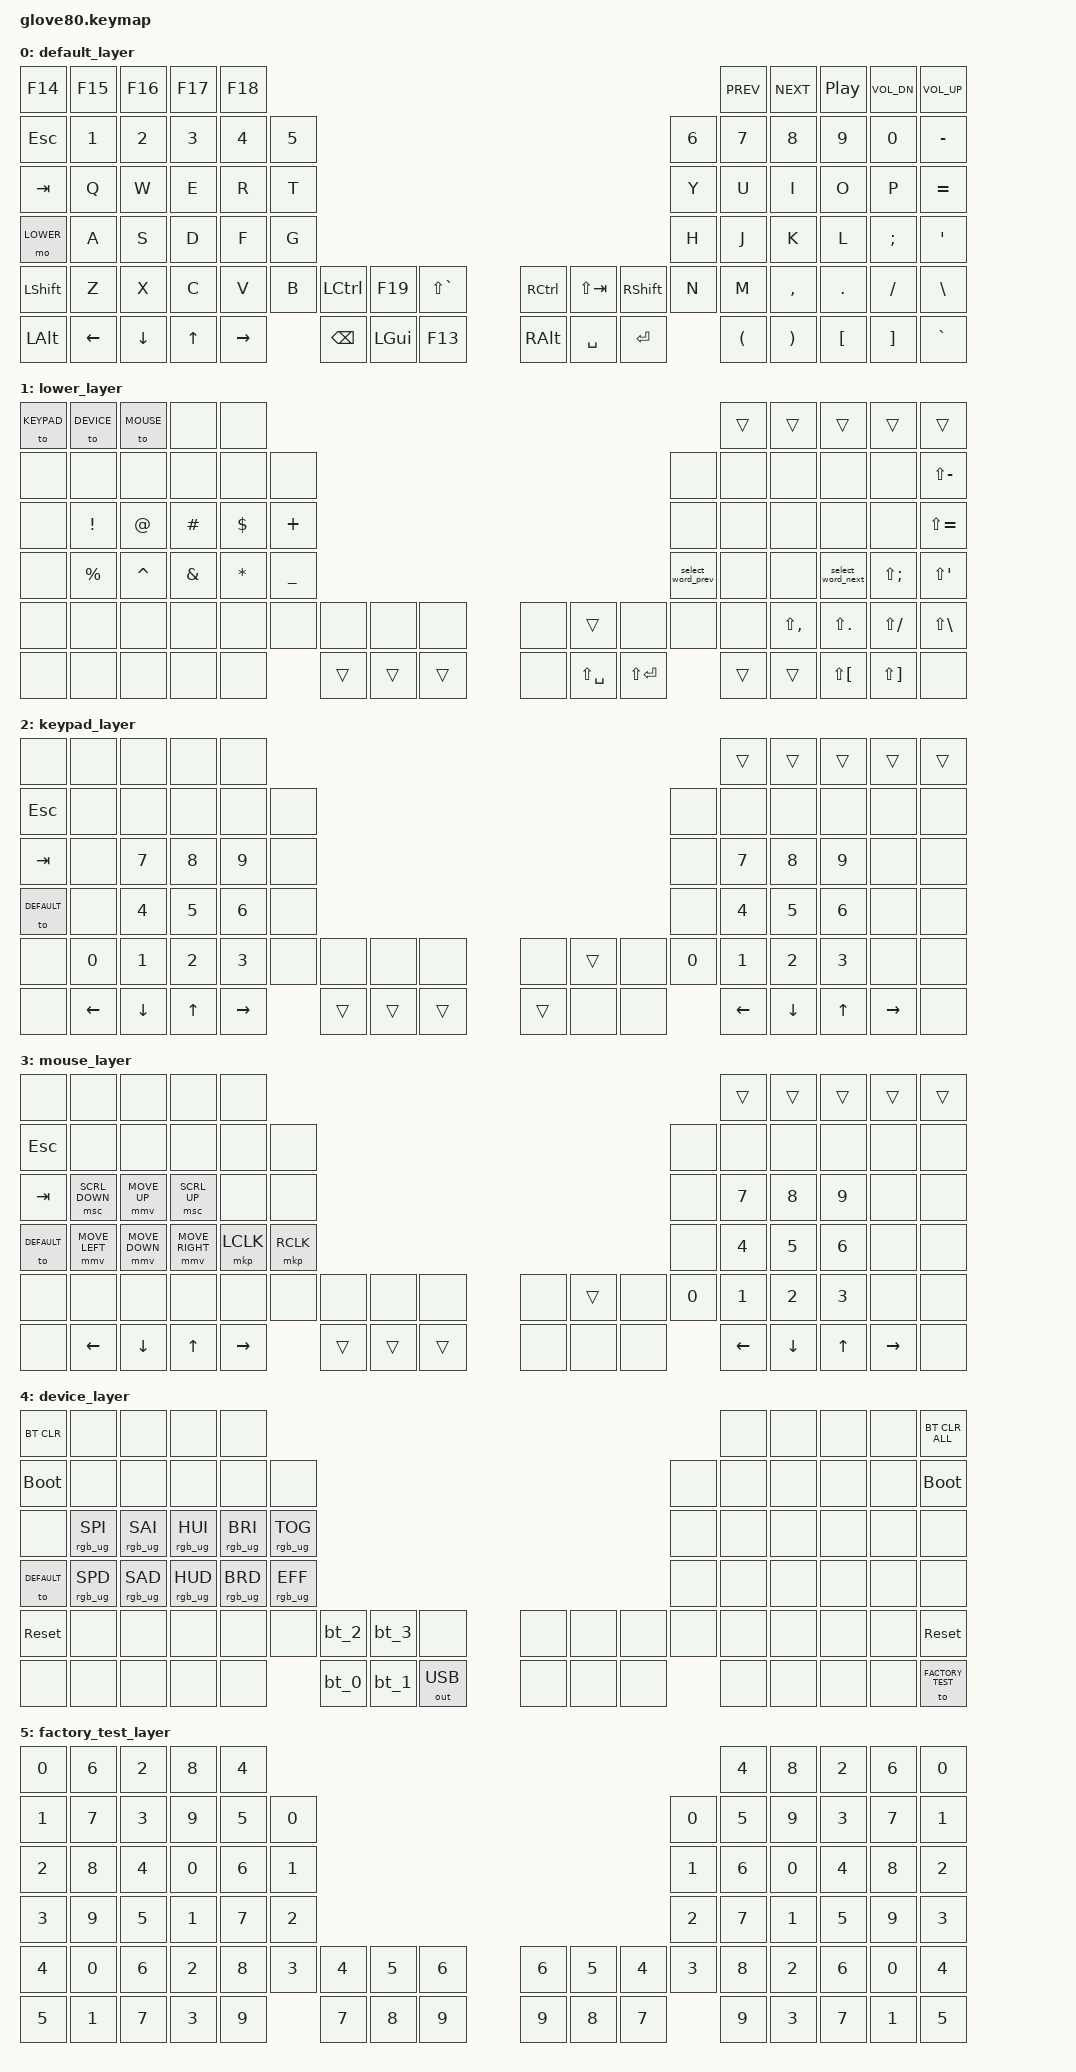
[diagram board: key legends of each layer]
/*
 * Copyright (c) 2020 The ZMK Contributors
 *
 * SPDX-License-Identifier: MIT
 */

#include <behaviors.dtsi>
#include <dt-bindings/zmk/keys.h>
#include <dt-bindings/zmk/bt.h>
#include <dt-bindings/zmk/ext_power.h>
#include <dt-bindings/zmk/outputs.h>
#include <dt-bindings/zmk/rgb.h>
#include <dt-bindings/zmk/mouse.h>

// layers
#define DEFAULT 0
#define LOWER 1
#define KEYPAD 2
#define MOUSE 3
#define DEVICE 4
#define FACTORY_TEST 5

#define _WM LALT
#define SEL_WORD_DELAY 1

/ {
  behaviors {
  };

  macros {
    // ------------------------------------------------------------------------
    // SELECT WORD MACROS
    // ------------------------------------------------------------------------
    // move_word_start: move_word_start {
    //   compatible = "zmk,behavior-macro";
    //   #binding-cells = <0>;
    //   bindings = <&kp LEFT &kp _WM(RIGHT) &kp _WM(RIGHT) &kp _WM(LEFT)>;
    // };
    // move_word_end: move_word_end {
    //   compatible = "zmk,behavior-macro";
    //   #binding-cells = <0>;
    //   bindings = <&kp _WM(RIGHT)>;
    // };
    // move_word_start_prev: move_word_start_prev {
    //   compatible = "zmk,behavior-macro";
    //   #binding-cells = <0>;
    //   bindings = <&kp RIGHT &kp _WM(LEFT) &kp _WM(LEFT)>;
    // };
    // move_word_end_prev: move_word_end_prev {
    //   compatible = "zmk,behavior-macro";
    //   #binding-cells = <0>;
    //   bindings = <&move_word_start_prev &move_word_end>;
    // };

    _select_word_next: _select_word_next {
      compatible = "zmk,behavior-macro";
      #binding-cells = <0>;
      wait-ms = <SEL_WORD_DELAY>;
      tap-ms = <SEL_WORD_DELAY>;
      bindings =
        <&macro_press &kp _WM>,
        <&macro_tap &kp RIGHT &kp LEFT &kp LS(RIGHT)>,
        <&macro_release &kp _WM>;
    };
    _extend_word_next: _extend_word_next {
      compatible = "zmk,behavior-macro";
      #binding-cells = <0>;
      wait-ms = <SEL_WORD_DELAY>;
      tap-ms = <SEL_WORD_DELAY>;
      bindings =
        <&macro_press &kp _WM>,
        <&macro_tap &kp LS(RIGHT)>,
        <&macro_release &kp _WM>;
    };
    select_word_next: select_word_next {
      compatible = "zmk,behavior-mod-morph";
      #binding-cells = <0>;
      bindings = <&_select_word_next>, <&_extend_word_next>;
      mods = <(MOD_LGUI|MOD_RGUI)>;
    };
    _select_word_prev: _select_word_prev {
      compatible = "zmk,behavior-macro";
      #binding-cells = <0>;
      wait-ms = <SEL_WORD_DELAY>;
      tap-ms = <SEL_WORD_DELAY>;
      bindings =
        <&macro_press &kp _WM>,
        <&macro_tap &kp LEFT &kp RIGHT &kp LS(LEFT)>,
        <&macro_release &kp _WM>;
    };
    _extend_word_prev: _extend_word_prev {
      compatible = "zmk,behavior-macro";
      #binding-cells = <0>;
      wait-ms = <SEL_WORD_DELAY>;
      tap-ms = <SEL_WORD_DELAY>;
      bindings =
        <&macro_press &kp _WM>,
        <&macro_tap &kp LS(LEFT)>,
        <&macro_release &kp _WM>;
    };
    select_word_prev: select_word_prev {
      compatible = "zmk,behavior-mod-morph";
      #binding-cells = <0>;
      bindings = <&_select_word_prev>, <&_extend_word_prev>;
      mods = <(MOD_LGUI|MOD_RGUI)>;
    };

    // ------------------------------------------------------------------------
    // DEVICE MACROS
    // ------------------------------------------------------------------------

    bt_0: bt_profile_macro_0 {
      compatible = "zmk,behavior-macro";
      #binding-cells = <0>;
      bindings = <&out OUT_BLE>, <&bt BT_SEL 0>;
    };

    bt_1: bt_profile_macro_1 {
      compatible = "zmk,behavior-macro";
      #binding-cells = <0>;
      bindings = <&out OUT_BLE>, <&bt BT_SEL 1>;
    };

    bt_2: bt_profile_macro_2 {
      compatible = "zmk,behavior-macro";
      #binding-cells = <0>;
      bindings = <&out OUT_BLE>, <&bt BT_SEL 2>;
    };

    bt_3: bt_profile_macro_3 {
      compatible = "zmk,behavior-macro";
      #binding-cells = <0>;
      bindings = <&out OUT_BLE>, <&bt BT_SEL 3>;
    };
  };

  keymap {
    compatible = "zmk,keymap";

    default_layer {
      bindings = <
        &kp F14     &kp F15   &kp F16   &kp F17 &kp F18                                                                                                    &kp C_PREV  &kp C_NEXT  &kp C_PP  &kp C_VOL_DN  &kp C_VOL_UP
        &kp ESC     &kp N1    &kp N2    &kp N3  &kp N4     &kp N5                                                                                  &kp N6  &kp N7      &kp N8      &kp N9    &kp N0        &kp MINUS
        &kp TAB     &kp Q     &kp W     &kp E   &kp R      &kp T                                                                                   &kp Y   &kp U       &kp I       &kp O     &kp P         &kp EQUAL
        &mo LOWER   &kp A     &kp S     &kp D   &kp F      &kp G                                                                                   &kp H   &kp J       &kp K       &kp L     &kp SEMI      &kp SQT
        &kp LSHIFT  &kp Z     &kp X     &kp C   &kp V      &kp B    &kp LCTRL  &kp F19   &kp LS(GRAVE)        &kp RCTRL &kp LS(TAB)  &kp RSHIFT    &kp N   &kp M       &kp COMMA   &kp DOT   &kp FSLH      &kp BSLH
        &kp LALT    &kp LEFT  &kp DOWN  &kp UP  &kp RIGHT           &kp BSPC   &kp LGUI  &kp F13              &kp RALT  &kp SPACE    &kp RET               &kp LPAR    &kp RPAR    &kp LBKT  &kp RBKT      &kp GRAVE
      >;
    };

    lower_layer {
      bindings = <
        &to KEYPAD  &to DEVICE   &to MOUSE    &none     &none                                                                                                          &trans  &trans         &trans             &trans        &trans
        &none       &none        &none        &none     &none       &none                                                                           &none              &none   &none          &none              &none         &kp LS(MINUS)
        &none       &kp EXCL     &kp AT_SIGN  &kp HASH  &kp DOLLAR  &kp PLUS                                                                        &none              &none   &none          &none              &none         &kp LS(EQUAL)
        &none       &kp PERCENT  &kp CARET    &kp AMPS  &kp ASTRK   &kp UNDER                                                                       &select_word_prev  &none   &none          &select_word_next  &kp LS(SEMI)  &kp LS(SQT)
        &none       &none        &none        &none     &none       &none        &none   &none   &none         &none  &trans         &none          &none              &none   &kp LS(COMMA)  &kp LS(DOT)        &kp LS(FSLH)  &kp LS(BSLH)
        &none       &none        &none        &none     &none                    &trans  &trans  &trans        &none  &kp LS(SPACE)  &kp LS(RET)                       &trans  &trans         &kp LS(LBKT)       &kp LS(RBKT)  &none
      >;
    };

    keypad_layer {
      bindings = <
        &none        &none     &none     &none   &none                                                                          &trans    &trans    &trans  &trans     &trans
        &kp ESC      &none     &none     &none   &none      &none                                                       &none   &none     &none     &none   &none      &none
        &kp TAB      &none     &kp N7    &kp N8  &kp N9     &none                                                       &none   &kp N7    &kp N8    &kp N9  &none      &none
        &to DEFAULT  &none     &kp N4    &kp N5  &kp N6     &none                                                       &none   &kp N4    &kp N5    &kp N6  &none      &none
        &none        &kp N0    &kp N1    &kp N2  &kp N3     &none  &none   &none   &none          &none  &trans  &none  &kp N0  &kp N1    &kp N2    &kp N3  &none      &none
        &none        &kp LEFT  &kp DOWN  &kp UP  &kp RIGHT         &trans  &trans  &trans         &trans &none   &none          &kp LEFT  &kp DOWN  &kp UP  &kp RIGHT  &none
      >;
    };

    mouse_layer {
      bindings = <
        &none        &none           &none           &none            &none                                                                               &trans    &trans    &trans  &trans     &trans
        &kp ESC      &none           &none           &none            &none      &none                                                            &none   &none     &none     &none   &none      &none
        &kp TAB      &msc SCRL_DOWN  &mmv MOVE_UP    &msc SCRL_UP     &none      &none                                                            &none   &kp N7    &kp N8    &kp N9  &none      &none
        &to DEFAULT  &mmv MOVE_LEFT  &mmv MOVE_DOWN  &mmv MOVE_RIGHT  &mkp LCLK  &mkp RCLK                                                        &none   &kp N4    &kp N5    &kp N6  &none      &none
        &none        &none           &none           &none            &none      &none  &none      &none     &none          &none  &trans  &none  &kp N0  &kp N1    &kp N2    &kp N3  &none      &none
        &none        &kp LEFT        &kp DOWN        &kp UP           &kp RIGHT         &trans     &trans    &trans         &none  &none   &none          &kp LEFT  &kp DOWN  &kp UP  &kp RIGHT  &none
      >;
    };

    device_layer {
      bindings = <
        &bt BT_CLR   &none            &none            &none            &none                                                                                              &none  &none  &none  &none  &bt BT_CLR_ALL
        &bootloader  &none            &none            &none            &none            &none                                                                      &none  &none  &none  &none  &none  &bootloader
        &none        &rgb_ug RGB_SPI  &rgb_ug RGB_SAI  &rgb_ug RGB_HUI  &rgb_ug RGB_BRI  &rgb_ug RGB_TOG                                                            &none  &none  &none  &none  &none  &none
        &to DEFAULT  &rgb_ug RGB_SPD  &rgb_ug RGB_SAD  &rgb_ug RGB_HUD  &rgb_ug RGB_BRD  &rgb_ug RGB_EFF                                                            &none  &none  &none  &none  &none  &none
        &sys_reset   &none            &none            &none            &none            &none            &bt_2     &bt_3     &none            &none  &none  &none  &none  &none  &none  &none  &none  &sys_reset
        &none        &none            &none            &none            &none                             &bt_0     &bt_1     &out OUT_USB     &none  &none  &none         &none  &none  &none  &none  &to FACTORY_TEST
      >;
    };

    factory_test_layer {
      bindings = <
        &kp N0   &kp N6   &kp N2   &kp N8   &kp N4                                                                        &kp N4   &kp N8   &kp N2   &kp N6   &kp N0
        &kp N1   &kp N7   &kp N3   &kp N9   &kp N5  &kp N0                                                        &kp N0  &kp N5   &kp N9   &kp N3   &kp N7   &kp N1
        &kp N2   &kp N8   &kp N4   &kp N0   &kp N6  &kp N1                                                        &kp N1  &kp N6   &kp N0   &kp N4   &kp N8   &kp N2
        &kp N3   &kp N9   &kp N5   &kp N1   &kp N7  &kp N2                                                        &kp N2  &kp N7   &kp N1   &kp N5   &kp N9   &kp N3
        &kp N4   &kp N0   &kp N6   &kp N2   &kp N8  &kp N3  &kp N4   &kp N5   &kp N6      &kp N6  &kp N5  &kp N4  &kp N3  &kp N8   &kp N2   &kp N6   &kp N0   &kp N4
        &kp N5   &kp N1   &kp N7   &kp N3   &kp N9          &kp N7   &kp N8   &kp N9      &kp N9  &kp N8  &kp N7          &kp N9   &kp N3   &kp N7   &kp N1   &kp N5
      >;
    };
  };
};
